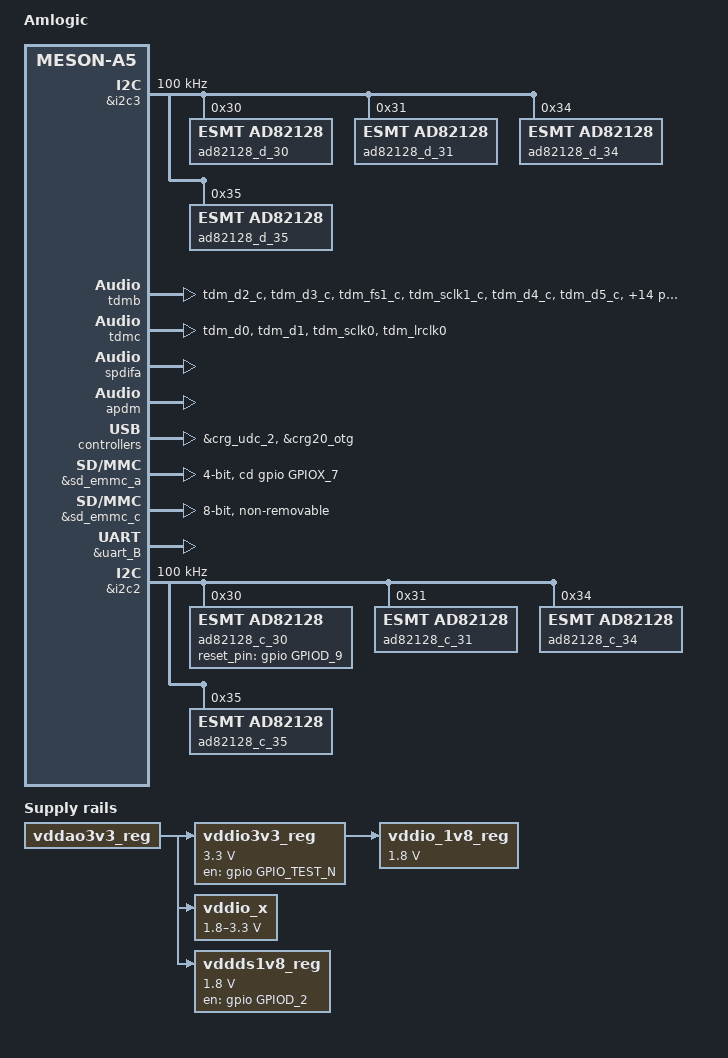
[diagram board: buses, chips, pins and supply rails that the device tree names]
// SPDX-License-Identifier: (GPL-2.0+ OR MIT)
/*
 * Copyright (c) 2019 Amlogic, Inc. All rights reserved.
 */

/dts-v1/;

#include "meson-a5.dtsi"
#include "partition_mbox_ab.dtsi"
#include <dt-bindings/input/input.h>

/ {
	model = "Amlogic";
	amlogic-dt-id = "a5_a113x2_av400_1g";
	compatible = "amlogic, a5";
	interrupt-parent = <&gic>;
	#address-cells = <2>;
	#size-cells = <2>;

	aliases {
		serial0 = &uart_B;
		serial1 = &uart_A;
		serial2 = &uart_C;
		serial3 = &uart_D;
		serial4 = &uart_E;
		i2c0 = &i2c0;
		i2c1 = &i2c1;
		i2c2 = &i2c2;
		i2c3 = &i2c3;
		spi0 = &spifc;
		spi1 = &spicc0;
		tsensor0 = &p_tsensor;
	};

	memory@00000000 {
		device_type = "memory";
		linux,usable-memory = <0x0 0x0 0x0 0x40000000>;
	};

	reserved-memory {
		#address-cells = <2>;
		#size-cells = <2>;
		ranges;

		dsp_fw_reserved:linux,dsp_fw {
			compatible = "shared-dma-pool";
			reusable;
			size = <0x0 0x00800000>;
			alignment = <0x0 0x00400000>;
			alloc-ranges = <0x0 0x30000000 0x0 0x00800000>;
		};

		/* global autoconfigured region for contiguous allocations */
		ramoops@0x07400000 {
			compatible = "ramoops";
			reg = <0x0 0x07400000 0x0 0x00100000>;
			record-size = <0x20000>;
			console-size = <0x40000>;
			ftrace-size = <0x80000>;
			pmsg-size = <0x20000>;
		};

		secmon_reserved:linux,secmon {
			compatible = "shared-dma-pool";
			reusable;
			size = <0x0 0x3400000>;
			alignment = <0x0 0x400000>;
			alloc-ranges = <0x0 0x05000000 0x0 0x3400000>;
		};

		logo_reserved:linux,meson-fb {
			compatible = "shared-dma-pool";
			reusable;
			size = <0x0 0x800000>;
			alignment = <0x0 0x400000>;
			alloc-ranges = <0x0 0x3f800000 0x0 0x800000>;
		};

		ion_cma_reserved:linux,ion-dev {
			compatible = "shared-dma-pool";
			reusable;
			size = <0x0 0x6400000>;
			alignment = <0x0 0x400000>;
		};
		ion_fb_reserved:linux,ion-fb {
			compatible = "shared-dma-pool";
			reusable;
			/* 1920x1080x4x3 round up 4M align */
			size = <0x0 0x1c00000>;
			alignment = <0x0 0x400000>;
		};
		/*di CMA pool */
		di_cma_reserved:linux,di_cma {
			compatible = "shared-dma-pool";
			reusable;
			/* buffer_size = 3621952(yuv422 8bit)
			 *  | 4736064(yuv422 10bit)
			 *  | 4074560(yuv422 10bit full pack mode)
			 * 10x3621952=34.6M(0x23) support 8bit
			 * 10x4736064=45.2M(0x2e) support 12bit
			 * 10x4074560=40M(0x28) support 10bit
			 */
			//size = <0x0 0x0B000000>;
			//size = <0x0 0x0>;
			alignment = <0x0 0x400000>;
		};

		/*  POST PROCESS MANAGER */
		ppmgr_reserved:linux,ppmgr {
			compatible = "shared-dma-pool";
			size = <0x0>;
		};

		codec_mm_cma:linux,codec_mm_cma {
			compatible = "shared-dma-pool";
			reusable;
			/* ion_codec_mm max can alloc size 80M*/
			size = <0x0 0xd000000>;
			alignment = <0x0 0x400000>;
			linux,contiguous-region;
		};

		/* codec shared reserved */
		codec_mm_reserved:linux,codec_mm_reserved {
			compatible = "amlogic, codec-mm-reserved";
			size = <0x0 0x0>;
			alignment = <0x0 0x100000>;
			//no-map;
		};

		/*  vdin0 CMA pool */
		vdin0_cma_reserved:linux,vdin0_cma {
			compatible = "shared-dma-pool";
			reusable;
			/* up to 1920x1080 yuv422 8bit and 5 buffers
			 * 1920x1080x2x5 = 20 M
			 */
			size = <0x0 0x01400000>;
			alignment = <0x0 0x400000>;
		};
		/*  vdin1 CMA pool */
		vdin1_cma_reserved:linux,vdin1_cma {
			compatible = "shared-dma-pool";
			reusable;
			/* up to 1920x1080 yuv422 8bit and 5 buffers
			 * 1920x1080x2x5 = 20 M
			 */
			size = <0x0 0x01400000>;
			alignment = <0x0 0x400000>;
		};
	};

	vddio3v3_reg: fixedregulator@5{
		vin-supply = <&vddao3v3_reg>;
		compatible = "regulator-fixed";
		regulator-name = "VDDIO_3V3";
		regulator-min-microvolt = <3300000>;
		regulator-max-microvolt = <3300000>;
		gpio = <&gpio GPIO_TEST_N GPIO_ACTIVE_HIGH>;
		enable-active-high;
		regulator-boot-on;
		regulator-always-on;
	};

	vddio_1v8_reg: fixedregulator@6{
		vin-supply = <&vddio3v3_reg>;
		compatible = "regulator-fixed";
		regulator-name = "VDDIO_1V8";
		regulator-min-microvolt = <1800000>;
		regulator-max-microvolt = <1800000>;
		regulator-boot-on;
		regulator-always-on;
	};

	vddio_x: gpio-regulator {
		vin-supply = <&vddao3v3_reg>;
		compatible = "regulator-gpio";
		regulator-name = "VDDIO_X";
		regulator-min-microvolt = <1800000>;
		regulator-max-microvolt = <3300000>;
		gpios = <&gpio GPIOD_11 GPIO_ACTIVE_LOW>;
		gpios-states = <1>;
		states = <1800000 1
			  3300000 0>;
		regulator-boot-on;
		regulator-always-on;
	};

	vddds1v8_reg: fixedregulator@7{
		vin-supply = <&vddao3v3_reg>;
		compatible = "regulator-fixed";
		regulator-name = "VDD_DSOFF_1V8";
		regulator-min-microvolt = <1800000>;
		regulator-max-microvolt = <1800000>;
		gpio = <&gpio GPIOD_2 GPIO_ACTIVE_HIGH>;
		enable-active-high;
		regulator-boot-on;
		regulator-always-on;
	};

	codec_mm {
		compatible = "amlogic, codec, mm";
		memory-region = <&codec_mm_cma &codec_mm_reserved>;
		dev_name = "codec_mm";
		status = "disabled";
	};
	amdolby_vision {
		compatible = "amlogic, dolby_vision_sc2";
		dev_name = "aml_amdolby_vision_driver";
		status = "disabled";
		tv_mode = <0>;/*1:enabel ;0:disable*/
	};
	cvbsout {
		compatible = "amlogic, cvbsout-sc2";
		status = "disabled";

		/* clk path */
		/* 0:vid_pll vid2_clk */
		/* 1:gp0_pll vid2_clk */
		/* 2:vid_pll vid1_clk */
		/* 3:gp0_pll vid1_clk */
		clk_path = <0>;

		/* performance: reg_address, reg_value */
		/* tm2 */
		performance = <0x1bf0  0x9
			0x1b56  0x333
			0x1b12  0x8080
			0x1b05  0xfd
			0x1c59  0xf850
			0xffff  0x0>; /* ending flag */
		performance_sarft = <0x1bf0  0x9
			0x1b56  0x333
			0x1b12  0x0
			0x1b05  0x9
			0x1c59  0xfc48
			0xffff  0x0>; /* ending flag */
		performance_revB_telecom = <0x1bf0  0x9
			0x1b56  0x546
			0x1b12  0x8080
			0x1b05  0x9
			0x1c59  0xf850
			0xffff  0x0>; /* ending flag */
	};

	dvb-extern {
		compatible = "amlogic, dvb-extern";
		dev_name = "dvb-extern";
		status = "disabled";

		/* dvb hardware main power. */
		dvb_power_gpio = <&gpio GPIOZ_5 GPIO_ACTIVE_HIGH>;
		dvb_power_value = <1>;
		dvb_power_dir = <0>; /* 0: out, 1: in. */

		fe_num = <3>; /* interal 2 * dvb-c, extern 1 * dvb-s */
		fe0_demod = "internal";
		fe0_tuner0 = <0>; /* use tuner0 */

		fe1_demod = "internal";
		fe1_tuner0 = <1>; /* use tuner1 */

		fe2_demod = "cxd2856";
		//fe2_i2c_adap_id = <&i2c4>;
		fe2_demod_i2c_addr = <0xD8>;
		fe2_reset_value = <0>;
		fe2_reset_gpio = <&gpio GPIOZ_4 GPIO_ACTIVE_HIGH>;
		fe2_reset_dir = <0>; /* 0: out, 1: in. */
		fe2_ant_poweron_value = <0>;
		//fe2_ant_power_gpio = <&gpio GPIOH_9 GPIO_ACTIVE_HIGH>;
		fe2_ts = <0>;
		fe2_tuner1 = <3>; /* use tuner3, only S. */

		tuner_num = <4>; /* tuner number, multi tuner support */
		tuner0_name = "r836_tuner";
		tuner0_i2c_adap = <&i2c3>;
		tuner0_i2c_addr = <0x1a>; /* 7bit */
		tuner0_xtal = <0>; /* 0: 16MHz, 1: 24MHz */
		tuner0_xtal_mode = <0>;
					/* NO_SHARE_XTAL(0)
					 * SLAVE_XTAL_SHARE(3)
					 */
		tuner0_xtal_cap = <16>;
		tuner0_lt_out = <1>;

		tuner1_name = "r836_tuner";
		tuner1_i2c_adap = <&i2c3>;
		tuner1_i2c_addr = <0x3a>; /* 7bit */
		tuner1_xtal = <0>; /* 0: 16MHz, 1: 24MHz */
		tuner1_xtal_mode = <0>;
					/* NO_SHARE_XTAL(0)
					 * SLAVE_XTAL_SHARE(3)
					 */
		tuner1_xtal_cap = <16>;
		tuner1_lt_out = <1>;

		tuner2_name = "av2018_tuner";
		tuner2_i2c_adap = <&i2c3>;
		tuner2_i2c_addr = <0xC4>; /* 8bit */
		tuner2_lt_out = <1>;

		tuner3_name = "av2018_tuner";
		tuner3_lt_out = <1>;
	};

	dvb-demux {
		compatible = "amlogic sc2, dvb-demux";
		dev_name = "dvb-demux";
		status = "disabled";

		reg = <0x0 0xfe000000 0x0 0x480000>;

		dmxdev_num = <4>;

		tsn_from = "demod";

		/*single demod setting */
		ts0_sid = <0x20>;
		ts0 = "serial-4wire"; /* tsinA: serial-4wire, serial-3wire */
		ts0_control = <0x0>;
		ts0_invert = <0>;

		ts1_sid = <0x21>;
		ts1 = "parallel";
		ts1_control = <0x0>;
		ts1_invert = <0>;

		ts2_sid = <0x22>;
		ts2 = "parallel";
		ts2_control = <0x0>;
		ts2_invert = <0>;

		pinctrl-names = "s_ts0";
		pinctrl-0 = <&dvb_s_ts0_pins>;
	};

	ionvideo {
		compatible = "amlogic, ionvideo";
		dev_name = "ionvideo";
		status = "disabled";
	};

	amlvideo2_0 {
		compatible = "amlogic, amlvideo2";
		dev_name = "amlvideo2";
		status = "disabled";
		amlvideo2_id = <0>;
		cma_mode = <1>;
	};

	amlvideo2_1 {
		compatible = "amlogic, amlvideo2";
		dev_name = "amlvideo2";
		status = "disabled";
		amlvideo2_id = <1>;
		cma_mode = <1>;
	};

	ppmgr {
		compatible = "amlogic, ppmgr";
		memory-region = <&ppmgr_reserved>;
		dev_name = "ppmgr";
		status = "disabled";
	};

	amlvecm {
		compatible = "amlogic, vecm";
		dev_name = "aml_vecm";
		status = "disabled";
		gamma_en = <0>;/*1:enabel ;0:disable*/
		wb_en = <0>;/*1:enabel ;0:disable*/
		cm_en = <0>;/*1:enabel ;0:disable*/
		/*0: 709/601  1: bt2020*/
		tx_op_color_primary = <0>;
	};

	multi-di {
		compatible = "amlogic, dim-s4";
		status = "disabled";
		/* 0:use reserved; 1:use cma; 2:use cma as reserved */
		flag_cma = <4>;	//<1>;
		//memory-region = <&di_reserved>;
		//memory-region = <&di_cma_reserved>;
		interrupts = <0 203 1
				0 202 1>;
		interrupt-names = "pre_irq", "post_irq";
		//clocks = <&clkc CLKID_VPU_CLKB>,
		//	<&clkc CLKID_VPU>;
		//clock-names = "vpu_clkb",
		//	"vpu_mux";
		//clock-range = <334 667>;
		/* buffer-size = <3621952>;(yuv422 8bit) */
		buffer-size = <4074560>;/*yuv422 fullpack*/
		/* reserve-iomap = "true"; */
		/* if enable nr10bit, set nr10bit-support to 1 */
		post-wr-support = <1>;
		nr10bit-support = <1>;
		nrds-enable = <1>;
		pps-enable = <1>;
	};

	provisionkey {
		compatible = "amlogic, provisionkey";
		status = "disabled";
		key-permit-default = "write";
		//new key not need add dts if started with KEY_PROVISION_
		KEY_PROVISION_XXX { };
		//test_my_added_keyname { };
	};//End provisionkey

	unifykey{
		compatible = "amlogic,unifykey";
		status = "okay";
		unifykey-num = <19>;
		unifykey-index-0 = <&keysn_0>;
		unifykey-index-1 = <&keysn_1>;
		unifykey-index-2 = <&keysn_2>;
		unifykey-index-3 = <&keysn_3>;
		unifykey-index-4 = <&keysn_4>;
		unifykey-index-5 = <&keysn_5>;
		unifykey-index-6 = <&keysn_6>;
		unifykey-index-7 = <&keysn_7>;
		unifykey-index-8 = <&keysn_8>;
		unifykey-index-9 = <&keysn_9>;
		unifykey-index-10= <&keysn_10>;
		unifykey-index-11= <&keysn_11>;
		unifykey-index-12= <&keysn_12>;
		unifykey-index-13= <&keysn_13>;
		unifykey-index-14= <&keysn_14>;
		unifykey-index-15= <&keysn_15>;
		unifykey-index-16= <&keysn_16>;
		unifykey-index-17= <&keysn_17>;
		unifykey-index-18= <&keysn_18>;

		keysn_0: key_0{
			key-name = "usid";
			key-device = "normal";
			key-permit = "read","write","del";
		};
		keysn_1:key_1{
			key-name = "mac";
			key-device = "normal";
			key-permit = "read","write","del";
		};
		keysn_2:key_2{
			key-name = "hdcp";
			key-device = "secure";
			key-type = "sha1";
			key-permit = "read","write","del";
		};
		keysn_3:key_3{
			key-name = "secure_boot_set";
			key-device = "efuse";
			key-permit = "write";
		};
		keysn_4:key_4{
			key-name = "mac_bt";
			key-device = "normal";
			key-permit = "read","write","del";
			key-type  = "mac";
		};
		keysn_5:key_5{
			key-name = "mac_wifi";
			key-device = "normal";
			key-permit = "read","write","del";
			key-type = "mac";
		};
		keysn_6:key_6{
			key-name = "hdcp2_tx";
			key-device = "normal";
			key-permit = "read","write","del";
		};
		keysn_7:key_7{
			key-name = "hdcp2_rx";
			key-device = "normal";
			key-permit = "read","write","del";
		};
		keysn_8:key_8{
			key-name = "widevinekeybox";
			key-device = "secure";
			key-permit = "read","write","del";
		};
		keysn_9:key_9{
			key-name = "deviceid";
			key-device = "normal";
			key-permit = "read","write","del";
		};
		keysn_10:key_10{
			key-name = "hdcp22_fw_private";
			key-device = "secure";
			key-permit = "read","write","del";
		};
		keysn_11:key_11{
			key-name = "PlayReadykeybox25";
			key-device = "secure";
			key-permit = "read","write","del";
		};
		keysn_12:key_12{
			key-name = "prpubkeybox";// PlayReady
			key-device = "secure";
			key-permit = "read","write","del";
		};
		keysn_13:key_13{
			key-name = "prprivkeybox";// PlayReady
			key-device = "secure";
			key-permit = "read","write","del";
		};
		keysn_14:key_14{
			key-name = "attestationkeybox";// attestation key
			key-device = "secure";
			key-permit = "read","write","del";
		};
		keysn_15:key_15{
			key-name = "region_code";
			key-device = "normal";
			key-permit = "read","write","del";
		};
		keysn_16:key_16{
			key-name = "netflix_mgkid";
			key-device = "secure";
			key-permit = "read","write","del";
		};
		keysn_17:key_17{
			key-name = "attestationdevidbox";// attest dev id box
			key-device = "secure";
			key-permit = "read","write","del";
		};
		keysn_18:key_18{
			key-name = "oemkey";
			key-device = "normal";
			key-permit = "read","write","del";
		};
	};//End unifykey

	efusekey:efusekey{
		keynum = <4>;
		key0 = <&key_0>;
		key1 = <&key_1>;
		key2 = <&key_2>;
		key3 = <&key_3>;
		key_0:key_0{
			keyname = "mac";
			offset = <0>;
			size = <6>;
		};
		key_1:key_1{
			keyname = "mac_bt";
			offset = <6>;
			size = <6>;
		};
		key_2:key_2{
			keyname = "mac_wifi";
			offset = <12>;
			size = <6>;
		};
		key_3:key_3{
			keyname = "usid";
			offset = <18>;
			size = <16>;
		};
	};//End efusekey
	/* Audio Related start */
	auge_sound {
		compatible = "amlogic, auge-sound-card";
		aml-audio-card,name = "AML-AUGESOUND";

		/*avout mute gpio*/
		//avout_mute-gpios = <&gpio GPIOH_5 GPIO_ACTIVE_HIGH>;
		//spk_mute-gpios = <&gpio GPIOD_2 GPIO_ACTIVE_LOW>;

		aml-audio-card,dai-link@0 {
			format = "i2s";
			mclk-fs = <256>;
			//continuous-clock;
			//bitclock-inversion;
			//frame-inversion;
			/* master mode */
			// bitclock-master = <&tdma>;
			// frame-master = <&tdma>;
			/* slave mode */

			bitclock-master = <&tdmacodec>;
			frame-master = <&tdmacodec>;

			suffix-name = "alsaPORT-i2sCapture";
			tdmacpu: cpu {
				sound-dai = <&tdma>;
				dai-tdm-slot-tx-mask =
							<1 1>;
				dai-tdm-slot-rx-mask =
							<1 1>;
				dai-tdm-slot-num = <2>;
				dai-tdm-slot-width = <32>;
				system-clock-frequency = <12288000>;
			};
			tdmacodec: codec {
				sound-dai = <&dummy_codec>;
			};
		};

		aml-audio-card,dai-link@1 {
			format = "i2s";// "dsp_a";
			mclk-fs = <256>;
			//continuous-clock;
			//bitclock-inversion;
			//frame-inversion;
			/* master mode */
			bitclock-master = <&tdmb>;
			frame-master = <&tdmb>;
			/* slave mode */
			//bitclock-master = <&tdmbcodec>;
			//frame-master = <&tdmbcodec>;
			/* suffix-name, sync with android audio hal
			 * what's the dai link used for
			 */
			suffix-name = "alsaPORT-i2s";
			cpu {
				sound-dai = <&tdmb>;
				dai-tdm-slot-tx-mask = <1 1>;
				//dai-tdm-slot-rx-mask = <1 1>;
				dai-tdm-slot-num = <2>;
				/*
				 * dai-tdm-slot-tx-mask =
				 *	<1 1 1 1 1 1 1 1>;
				 * dai-tdm-slot-rx-mask =
				 *	<1 1 1 1 1 1 1 1>;
				 * dai-tdm-slot-num = <8>;
				 */
				dai-tdm-slot-width = <32>;
				system-clock-frequency = <12288000>;
			};
			tdmbcodec: codec {
				prefix-names = "ad82128_c_30","ad82128_c_31",
						"ad82128_c_34","ad82128_c_35",
						"ad82128_d_30","ad82128_d_31",
						"ad82128_d_34","ad82128_d_35";
				sound-dai = <
						&ad82128_c_30
						&ad82128_c_31
						&ad82128_c_34
						&ad82128_c_35
						&ad82128_d_30
						&ad82128_d_31
						&ad82128_d_34
						&ad82128_d_35
				>;
			};
		};

		aml-audio-card,dai-link@2 {
			mclk-fs = <64>;
			/* suffix-name, sync with android audio hal
			 * what's the dai link used for
			 */
			suffix-name = "alsaPORT-pdm";
			cpu {
				sound-dai = <&apdm>;
			};
			codec {
				sound-dai = <&dummy_codec>;
			};
		};

		aml-audio-card,dai-link@3 {
			mclk-fs = <128>;
			/* suffix-name, sync with android audio hal used for */
			suffix-name = "alsaPORT-spdif";
			cpu {
				sound-dai = <&spdifa>;
				system-clock-frequency = <6144000>;
			};
			codec {
				sound-dai = <&dummy_codec>;
			};
		};

		aml-audio-card,dai-link@4 {
			mclk-fs = <256>;
			continuous-clock;
			suffix-name = "alsaPORT-loopback";
			cpu {
				sound-dai = <&loopbacka>;
				system-clock-frequency = <12288000>;
			};
			codec {
				sound-dai = <&dummy_codec>;
			};
		};

		aml-audio-card,dai-link@5 {
			format = "i2s";
			mclk-fs = <256>;
			//continuous-clock;
			//bitclock-inversion;
			//frame-inversion;
			/* master mode */
			bitclock-master = <&tdmc>;
			frame-master = <&tdmc>;
			/* slave mode */
			//bitclock-master = <&tdmccodec>;
			//frame-master = <&tdmccodec>;
			/* suffix-name, sync with android audio hal used for */
			suffix-name = "alsaPORT-tdmin";
			cpu {
				sound-dai = <&tdmc>;
				//dai-tdm-slot-tx-mask = <1 1>;
				dai-tdm-slot-rx-mask = <1 1>;
				dai-tdm-slot-num = <2>;
				dai-tdm-slot-width = <32>;
				system-clock-frequency = <12288000>;
			};
			codec {
				sound-dai = <&dummy_codec>;
			};
		};
	};

	picdec {
		compatible = "amlogic, picdec";
		status = "disabled";
	};

	audiolocker: locker {
		compatible = "amlogic, audiolocker";
		clock-names = "lock_out", "lock_in", "out_src",
					"in_src", "out_calc", "in_ref";
		interrupts = <GIC_SPI 1 IRQ_TYPE_EDGE_RISING>;
		interrupt-names = "irq";
		frequency = <49000000>; /* pll */
		dividor = <49>; /* locker's parent */
		status = "disabled";
	};/* Audio Related end */

	cpu_opp_table0: cpu_opp_table0 {
		compatible = "operating-points-v2";
		status = "disabled";
		opp-shared;

		opp00 {
			opp-hz = /bits/ 64 <100000000>;
			opp-microvolt = <779000>;
		};
		opp01 {
			opp-hz = /bits/ 64 <250000000>;
			opp-microvolt = <779000>;
		};
		opp02 {
			opp-hz = /bits/ 64 <500000000>;
			opp-microvolt = <779000>;
		};
		opp03 {
			opp-hz = /bits/ 64 <667000000>;
			opp-microvolt = <799000>;
		};
		opp04 {
			opp-hz = /bits/ 64 <1000000000>;
			opp-microvolt = <819000>;
		};
		opp05 {
			opp-hz = /bits/ 64 <1200000000>;
			opp-microvolt = <829000>;
		};
		opp06 {
			opp-hz = /bits/ 64 <1404000000>;
			opp-microvolt = <839000>;
		};
		opp07 {
			opp-hz = /bits/ 64 <1500000000>;
			opp-microvolt = <849000>;
		};
		opp08 {
			opp-hz = /bits/ 64 <1608000000>;
			opp-microvolt = <879000>;
		};
		opp09 {
			opp-hz = /bits/ 64 <1704000000>;
			opp-microvolt = <919000>;
		};
		opp10 {
			opp-hz = /bits/ 64 <1800000000>;
			opp-microvolt = <959000>;
		};
		opp11 {
			opp-hz = /bits/ 64 <1908000000>;
			opp-microvolt = <1019000>;
		};
		opp12 {
			opp-hz = /bits/ 64 <2004000000>;
			opp-microvolt = <1049000>;
		};
	};
	cpufreq-meson {
		compatible = "amlogic, cpufreq-meson";
		status = "disabled";
	gpio_keypad{
		compatible = "amlogic, gpio_keypad";
		status = "disabled";
		scan_period = <20>;
		key_num = <1>;
		key_name = "mute";
		key_code = <SW_MUTE_DEVICE>;
		key_type = <EV_SW>;
		key-gpios = <&gpio  GPIOD_3  GPIO_ACTIVE_HIGH>;
		detect_mode = <0>;/*0:polling mode, 1:irq mode*/
	};
};

&i2c3 {
	status = "disabled";
	pinctrl-names="default";
	pinctrl-0=<&i2c3_pins2>;
	clock-frequency = <300000>;
};

&vddcpu0 {
	status = "disabled";
};

&audiobus {
	tdma: tdm@0 {
		compatible = "amlogic, a5-snd-tdma";
		#sound-dai-cells = <0>;
		dai-tdm-lane-slot-mask-in = <1 1 1 1>;
		dai-tdm-lane-slot-mask-out = <1 1>;
		dai-tdm-clk-sel = <0>;
		clocks = <&clkaudio CLKID_AUDIO_MCLK_A
				&clkaudio CLKID_AUDIO_MCLK_PAD2
				&clkc CLKID_MPLL0>;
		clock-names = "mclk", "mclk_pad", "clk_srcpll";
		pinctrl-names = "tdm_pins", "tdmout_a_gpio";
		pinctrl-0 = <
			&mclk_2_pins
			&tdm_a_pins
			&tdmain_pins
			&tdm_d0_pins
			&tdm_d1_pins
			//&tdm_d8_pins
			&tdm_d9_pins
			&tdm_d10_pins
			&tdm_d11_pins
			&tdma_clk_pins
			&tdmain_clk_pins>;
			&tdmain_clk_pins
			>;
		pinctrl-1 = <&tdmin_a_gpio>;
		tdm5v-supply = <&vcc5v_reg>;
		tdm3v3-supply = <&vddio3v3_reg>;
		status = "okay";
	};

	tdmb: tdm@1 {
		compatible = "amlogic, a5-snd-tdmb";
		#sound-dai-cells = <0>;
		dai-tdm-lane-slot-mask-out = <1 1 1 1 1 1 1 1>;
		dai-tdm-clk-sel = <1>;
		clocks = <&clkaudio CLKID_AUDIO_MCLK_B
				&clkaudio CLKID_AUDIO_MCLK_PAD1
				&clkc CLKID_MPLL1>;
		clock-names = "mclk", "mclk_pad", "clk_srcpll";
		pinctrl-names = "tdm_pins";
		pinctrl-0 = <
			&mclk_1_pins
			&tdm_b_pins
			&tdm_d2_pins
			&tdm_d3_pins
			&tdm_d4_pins
			&tdm_d5_pins
			&tdm_d6_pins
			&tdm_d7_pins
			&tdm_d12_pins
			&tdm_d13_pins
			&tdmb_clk_pins>;
		pinctrl-1 = <&tdmout_b_gpio>;
		start_clk_enable = <1>;
		tdm5v-supply = <&vcc5v_reg>;
		tdm3v3-supply = <&vddio3v3_reg>;
		status = "okay";
	};

	tdmc:tdm@2 {
		compatible = "amlogic, a5-snd-tdmc";
		#sound-dai-cells = <0>;
		dai-tdm-lane-slot-mask-in = <1 1>;
		dai-tdm-clk-sel = <2>;
		clocks = <&clkaudio CLKID_AUDIO2_MCLK_VAD
				&clkc CLKID_MPLL2>;
		clock-names = "mclk","clk_srcpll";
		//pinctrl-names = "tdm_pins";
		//pinctrl-0 = <
			//&mclk_2_pins
			//&tdm_c_pins
			//&tdm_d11_pins
			//&tdmc_clk_pins>;
		pinctrl-names = "tdm_pins", "tdmout_a_gpio";
		pinctrl-0 = <
			&tdmcin_pins
			&tdm_d0_pins
			&tdm_d1_pins
			&tdmc_clk_pins>;
		pinctrl-1 = <&tdmin_c_gpio>;
		tdm5v-supply = <&vcc5v_reg>;
		tdm3v3-supply = <&vddio3v3_reg>;
		status = "okay";
	};

	spdifa: spdif@0 {
		compatible = "amlogic, a5-snd-spdif-a";
		#sound-dai-cells = <0>;
		clocks = <&clkc CLKID_MPLL0
				&clkc CLKID_FCLK_DIV4
				&clkaudio CLKID_AUDIO_GATE_SPDIFIN
				&clkaudio CLKID_AUDIO_GATE_SPDIFOUT_A
				&clkaudio CLKID_AUDIO_SPDIFIN
				&clkaudio CLKID_AUDIO_SPDIFOUT_A>;
		clock-names = "sysclk", "fixed_clk", "gate_spdifin",
				"gate_spdifout", "clk_spdifin", "clk_spdifout";
		interrupts =
				<GIC_SPI 35 IRQ_TYPE_EDGE_RISING>;

		interrupt-names = "irq_spdifin";
		//pinctrl-names = "spdif_pins", "spdif_pins_mute";
		//pinctrl-0 = <&spdifout>;
		//pinctrl-1 = <&spdifout_a_mute>;
		pinctrl-names = "spdif_pins", "spdif_pins_mute";
		pinctrl-0 = <&spdifout
			     &spdifin>;
		pinctrl-1 = <&spdif_a_mute>;

		/*spdif clk tuning enable*/
		clk_tuning_enable = <1>;

		spdif5v-supply = <&vcc5v_reg>;
		spdif3v3-supply = <&vddio3v3_reg>;
		status = "okay";
	};

	apdm: pdm {
		compatible = "amlogic, a5-snd-pdm";
		#sound-dai-cells = <0>;

		clocks = <&clkaudio CLKID_AUDIO2_GATE_PDM
			&clkc CLKID_FCLK_DIV4
			&clkc CLKID_MPLL1
			&clkaudio CLKID_AUDIO2_PDM_DCLK
			&clkaudio CLKID_AUDIO2_PDM_SYSCLK>;
		clock-names = "gate",
			"sysclk_srcpll",
			"dclk_srcpll",
			"pdm_dclk",
			"pdm_sysclk";

		pinctrl-names = "pdm_pins";
		pinctrl-0 = <&pdmin>;

		/* mode 0~4, defalut:1 */
		filter_mode = <1>;

		pdm5v-supply = <&vcc5v_reg>;
		pdm3v3-supply = <&vddio3v3_reg>;
		status = "okay";
	};

	/* a5 only one resample, a/b can only use one at the same time */
	/* spdif use this resample */
	asrca: resample@0 {
		compatible = "amlogic, t5-resample-a";
		clocks = <&clkc CLKID_MPLL2
				&clkaudio CLKID_AUDIO_MCLK_F
				&clkaudio CLKID_AUDIO_RESAMPLE_A>;
		clock-names = "resample_pll", "resample_src", "resample_clk";
		/*same with toddr_src
		 *	TDMIN_A, 0
		 *	TDMIN_B, 1
		 *	TDMIN_C, 2
		 *	SPDIFIN, 3
		 *	PDMIN,  4
		 *	NONE,
		 *	TDMIN_LB, 6
		 *	LOOPBACK, 7
		 */
		resample_module = <3>;
		status = "disabled";
	};

	/* loopback use this resample */
	asrcb: resample@1 {
		compatible = "amlogic, t5-resample-b";
		clocks = <&clkc CLKID_MPLL2
				&clkaudio CLKID_AUDIO_MCLK_F
				&clkaudio CLKID_AUDIO_RESAMPLE_A>;
		clock-names = "resample_pll", "resample_src", "resample_clk";
		/*this resample is only used for loopback_A.*/
		capture_sample_rate = <16000>;

		status = "okay";
	};

	vad:vad {
		compatible = "amlogic, snd-vad-top";
		#sound-dai-cells = <0>;

		clocks = <&clkaudio CLKID_AUDIO2_GATE_TOVAD
			&clkc CLKID_FCLK_DIV4
			&clkaudio CLKID_AUDIO2_VAD_CLK>;
		clock-names = "gate", "pll", "clk";

		interrupts = <GIC_SPI 39 IRQ_TYPE_EDGE_RISING
				GIC_SPI 44 IRQ_TYPE_EDGE_RISING>;
		interrupt-names = "irq_wakeup", "irq_frame_sync";

		/*
		 * Data src sel:
		 * 0: tdmin_a;
		 * 1: tdmin_b;
		 * 2: tdmin_c;
		 * 3: spdifin;
		 * 4: pdmin;
		 * 5: loopback_b;
		 * 6: tdmin_lb;
		 * 7: loopback_a;
		 */
		src = <4>;

		/*
		 * deal with hot word in user space or kernel space
		 * 0: in user space
		 * 1: in kernel space
		 */
		level = <1>;

		status = "okay";
	};

	loopbacka:loopback@0 {
		compatible = "amlogic, a5-loopbacka";
		#sound-dai-cells = <0>;

		clocks = <&clkaudio CLKID_AUDIO2_GATE_PDM
			&clkc CLKID_FCLK_DIV4
			&clkc CLKID_MPLL1
			&clkaudio CLKID_AUDIO2_PDM_DCLK
			&clkaudio CLKID_AUDIO2_PDM_SYSCLK
			&clkc CLKID_MPLL1
			&clkaudio CLKID_AUDIO_MCLK_B>;
		clock-names = "pdm_gate",
			"pdm_sysclk_srcpll",
			"pdm_dclk_srcpll",
			"pdm_dclk",
			"pdm_sysclk",
			"tdminlb_mpll",
			"tdminlb_mclk";

		/* datain src
		 * 0: tdmin_a;
		 * 1: tdmin_b;
		 * 2: tdmin_c;
		 * 3: spdifin;
		 * 4: pdmin;
		 */
		datain_src = <4>;
		datain_chnum = <4>;
		datain_chmask = <0xf>;
		/* config which data pin for loopback */
		datain-lane-mask-in = <1 0 1 0>;

		/* calc mclk for datalb */
		mclk-fs = <256>;

		/* tdmin_lb src
		 * 0: tdmoutA
		 * 1: tdmoutB
		 * 2: tdmoutC
		 * 3: PAD_TDMINA_DIN*, refer to core pinmux
		 * 4: PAD_TDMINB_DIN*, refer to core pinmux
		 * 5: PAD_TDMINC_DIN*, refer to core pinmux
		 * 6: PAD_TDMINA_D*, oe, refer to core pinmux
		 * 7: PAD_TDMINB_D*, oe, refer to core pinmux
		 */
		/* if tdmin_lb >= 3, use external loopback */
		datalb_src = <1>;
		datalb_chnum = <2>;
		datalb_chmask = <0x3>;
		/* config which data pin as loopback */
		datalb-lane-mask-in = <1 0 0 0>;

		status = "okay";
	};
#if 0
	aed:effect {
		compatible = "amlogic, snd-effect-v3";
		#sound-dai-cells = <0>;
		clocks = <&clkaudio CLKID_AUDIO_GATE_EQDRC
			&clkc CLKID_FCLK_DIV5
			&clkaudio CLKID_AUDIO_EQDRC>;
		clock-names = "gate", "srcpll", "eqdrc";
		/*
		 * 0:tdmout_a
		 * 1:tdmout_b
		 * 2:tdmout_c
		 * 3:spdifout
		 * 4:spdifout_b
		 */
		eqdrc_module = <1>;
		/* max 0xf, each bit for one lane, usually one lane */
		lane_mask = <0x1>;
		/* max 0xff, each bit for one channel */
		channel_mask = <0x3>;
		status = "disabled";
	};
#endif
}; /* end of audiobus */

&periphs_pinctrl {

	tdmain_pins: tdmain_pin {
		mux { /* GPIOT_1, GPIOT_0, GPIOT_2, GPIOT_3, GPIOT_4, GPIOT_5 */
			groups = "tdm_sclk2_t",
				"tdm_fs2_t",
				//"tdm_d8_t",
				"tdm_d9_t",
				"tdm_d10_t",
				"tdm_d11_t";
			function = "tdm";
		};
	};

	tdm_b_pins: tdm_b_pin {
		mux { /* GPIOC_0, GPIOC_1, GPIOC_2--GPIOC_8, GPIOT7, GPIOT8*/
			groups = "tdm_d2_c",
				"tdm_d3_c",
				"tdm_fs1_c",
				"tdm_sclk1_c",
				"tdm_d4_c",
				"tdm_d5_c",
				"tdm_d6_c",
				"tdm_d7_c",
				"tdm_d12_t",
				"tdm_d13_t";
			function = "tdm";
		};
	};
#if 0
	spdifin: spdifin {
		mux {/* GPIOH_5 */
			groups = "spdif_in_h";
			function = "spdif_in";
		};
	};
	//tdm_c_pins: tdm_c_pin {
	//	mux { /* GPIOT_1, GPIOT_0,GPIOT_5 */
	//		groups = "tdm_sclk2_t",
	//			"tdm_fs2_t",
	//			"tdm_d11_t";
	//		function = "tdm";
	//	};
	//};
	tdmin_a_gpio: tdmin_a_gpio {
		mux {
			groups ="GPIOT_0",
				"GPIOT_1",
				"GPIOT_2",
				"GPIOT_3",
				"GPIOT_4",
				"GPIOT_5",
				"GPIOT_6";
			function = "gpio_periphs";
			output-low;
		};
	};

	tdmout_b_gpio: tdmout_b_gpio {
		mux {
			groups ="GPIOC_0",
				"GPIOC_1",
				"GPIOC_2",
				"GPIOC_3",
				"GPIOC_4",
				"GPIOC_5",
				"GPIOC_6",
				"GPIOC_7",
				"GPIOC_8",
				"GPIOT_7",
				"GPIOT_8";
			function = "gpio_periphs";
			output-low;
		};
	};
	tdmin_c_gpio: tdmin_c_gpio {
		mux {
			groups ="GPIOX_8",
				"GPIOX_9",
				"GPIOX_10",
				"GPIOX_11";
			function = "gpio_periphs";
			output-low;
		};
	};
	tdmcin_pins: tdmcin_pin {
		mux { /* GPIOX_8, GPIOX_9, GPIOX_10, GPIOX_11, */
			groups = "tdm_sclk0_x",
				"tdm_fs0_x",
				"tdm_d0_x",
				"tdm_d1_x";
			function = "tdm";
		};
	};

>>>>>>> c3561923a841... audio: fixed audio resume reg is null [1/1]
	pdmin: pdmin {
		mux { /* GPIOH_2, GPIOH_1, GPIOH_0, GPIOH_4, GPIOH_3 */
			groups = "pdm_dclk_h",
				"pdm_din0_h",
				"pdm_din1_h",
				"pdm_din2_h",
				"pdm_din3_h";
			function = "pdm";
		};
	};
	spdifout: spdifout {
		mux { /* GPIOD_10 */
			groups = "spdif_out_d";
			function = "spdif_out";
		};
	};
	spdifout_a_mute: spdifout_a_mute {
		mux { /* GPIOD_10 */
			groups = "GPIOD_10";
			function = "gpio_periphs";
			output-low;
		};
	};
#endif
	dvb_s_ts0_pins: dvb_s_ts0_pins {
		tsin_a {
			groups = "tsin_a_sop",
				"tsin_a_valid",
				"tsin_a_clk",
				"tsin_a_din0";
			function = "tsin_a";
		};
	};
}; /* end of periphs_pinctrl */

&pinctrl_audio {
	tdm_d0_pins: tdm_d0_pin {
		mux {
			groups = "tdm_d0";
			function = "tdmina_lane1";
		};
	};

	tdm_d1_pins: tdm_d1_pin {
		mux {
			groups = "tdm_d1";
			function = "tdmouta_lane0";
		};
	};

	tdm_d2_pins: tdm_d2_pin {
		mux {
			groups = "tdm_d2";
			function = "tdmoutb_lane0";
		};
	};

	tdm_d3_pins: tdm_d3_pin {
		mux {
			groups = "tdm_d3";
			function = "tdmoutb_lane1";
		};
	};

	tdm_d4_pins: tdm_d4_pin {
		mux {
			groups = "tdm_d4";
			function = "tdmoutb_lane2";
		};
	};

	tdm_d5_pins: tdm_d5_pin {
		mux {
			groups = "tdm_d5";
			function = "tdmoutb_lane3";
		};
	};

	tdm_d6_pins: tdm_d6_pin {
		mux {
			groups = "tdm_d6";
			function = "tdmoutb_lane4";
		};
	};

	tdm_d7_pins: tdm_d7_pin {
		mux {
			groups = "tdm_d7";
			function = "tdmoutb_lane5";
		};
	};

	//tdm_d8_pins: tdm_d8_pin {
	//	mux {
	//		groups = "tdm_d8";
	//		function = "tdmina_lane1";
	//	};
	//};

	tdm_d9_pins: tdm_d9_pin {
		mux {
			groups = "tdm_d9";
			function = "tdmina_lane2";
		};
	};

	tdm_d10_pins: tdm_d10_pin {
		mux {
			groups = "tdm_d10";
			function = "tdmina_lane3";
		};
	};

	tdm_d11_pins: tdm_d11_pin {
		mux {
			groups = "tdm_d11";
			function = "tdmina_lane0";
		};
	};

	tdm_d12_pins: tdm_d12_pin {
		mux {
			groups = "tdm_d12";
			function = "tdmoutb_lane6";
		};
	};

	tdm_d13_pins: tdm_d13_pin {
		mux {
			groups = "tdm_d13";
			function = "tdmoutb_lane7";
		};
	};

	tdma_clk_pins: tdma_clk_pin {
		mux {
			groups = "tdm_sclk0", "tdm_lrclk0";
			function = "tdm_clk_outa";
		};
	};

	tdmb_clk_pins: tdmb_clk_pin {
		mux {
			groups = "tdm_sclk1", "tdm_lrclk1";
			function = "tdm_clk_outb";
		};
	};

	tdmain_clk_pins: tdmain_clk_pin {
		mux {
			groups = "tdm_sclk2", "tdm_lrclk2";
			function = "tdm_clk_outa";
		};
	};
	//tdm_d11_pins: tdm_d11_pin {
	//	mux {
	//		groups = "tdm_d11";
	//		function = "vadtop_tdmin_lane0";
	//	};
	//};

	//tdmc_clk_pins: tdmc_clk_pin {
	//	mux {
	//		groups = "tdm_sclk2", "tdm_lrclk2", "tdm_mclk2";
	//		function = "vadtop_tdm_clk_outc";
	//	};
	//};
	tdmc_clk_pins: tdmc_clk_pin {
		mux {
			groups = "tdm_sclk0", "tdm_lrclk0";
			function = "vadtop_tdm_clk_outc";
		};
	};
};

&audio_data {
	status = "disabled";
};

&crg_udc_2 {
	status = "okay";
};

&crg20_otg {
	status = "okay";
	controller-type = <3>;
};

&crg2_drd {
	compatible = "amlogic, crg-drd";
	status = "okay";
};

&crg_phy_20 {
	status = "okay";
	portnum = <1>;
	gpio-vbus-power = "GPIOD_10";
	gpios = <&gpio GPIOD_10 GPIO_ACTIVE_HIGH>;
};

&crg3_phy_20 {
	status = "okay";
	portnum = <0>;
};

/* SDIO */
//&sd_emmc_a {
//	status = "okay";
//	pinctrl-0 = <&sdio_pins>;
//	pinctrl-1 = <&sdio_clk_gate_pins>;
//	pinctrl-names = "default", "clk-gate";
//	#address-cells = <1>;
//	#size-cells = <0>;
//
//	bus-width = <4>;
//	cap-sd-highspeed;
//	sd-uhs-sdr50;
//	sd_uhs-sdr104;
//	max-frequency = <200000000>;
//
//	non-removable;
//	disable-wp;
//
//	//vmmc-supply = <&vddao_3v3>;
//	//vqmmc-supply = <&vddio_ao1v8>;
//
//	brcmf: wifi@1 {
//		reg = <1>;
//		compatible = "brcm,bcm4329-fmac";
//	};
//};
/* SD card pxp bringup */
&sd_emmc_a {
	status = "okay";
	pinctrl-0 = <&sdcard_pins>;
	pinctrl-1 = <&sdcard_clk_gate_pins>;
	pinctrl-2 = <&sd_1bit_pins>;
	pinctrl-names = "sd_default",
			"clk-gate",
			"sd_1bit_pins";
	bus-width = <4>;
	cap-sd-highspeed;
	max-frequency = <200000000>;
	disable-wp;

	cd-gpios = <&gpio GPIOX_7 GPIO_ACTIVE_HIGH>;
	//vmmc-supply = <&vddao_3v3>;
	//vqmmc-supply = <&emmc_1v8>;
};

/* SD card */
&sd_emmc_b {
	status = "disabled";
	pinctrl-0 = <&sdcard_pins>;
	pinctrl-1 = <&sdcard_clk_gate_pins>;
	pinctrl-2 = <&sd_1bit_pins>;
	pinctrl-3 = <&sd_to_ao_uart_clr_pins
		&sdcard_pins &ao_to_sd_uart_pins>;
	pinctrl-4 = <&sd_to_ao_uart_clr_pins
		&sd_1bit_pins &ao_to_sd_uart_pins>;
	pinctrl-5 = <&sdcard_pins &ao_uart_pins>;
	pinctrl-6 = <&sd_to_ao_uart_clr_pins
		&ao_to_sd_uart_pins>;
	pinctrl-7 = <&sdcard_pins &ao_uart_pins>;
	pinctrl-8 = <&sd_to_ao_uart_clr_pins
		&ao_to_sd_uart_pins>;
	pinctrl-names = "sd_default",
			"clk-gate",
			"sd_1bit_pins",
			"sd_clk_cmd_uart_pins",
			"sd_1bit_uart_pins",
			"sd_to_ao_uart_pins",
			"ao_to_sd_uart_pins",
			"sd_to_ao_jtag_pins",
			"ao_to_sd_jtag_pins";
	bus-width = <4>;
	cap-sd-highspeed;
//	sd-uhs-sdr12;
//	sd-uhs-sdr25;
//	sd-uhs-sdr50;
//	sd_uhs-sdr104;
	max-frequency = <200000000>;
	disable-wp;

	cd-gpios = <&gpio GPIOC_6 GPIO_ACTIVE_HIGH>;
	dat1-gpios = <&gpio GPIOC_1 GPIO_ACTIVE_HIGH>;
	//vmmc-supply = <&vddao_3v3>;
	//vqmmc-supply = <&emmc_1v8>;
};

&sd_emmc_c {
	status = "okay";
	pinctrl-0 = <&emmc_pins>, <&emmc_ds_pins>;
	pinctrl-1 = <&emmc_clk_gate_pins>;
	pinctrl-names = "default", "clk-gate";

	bus-width = <8>;
	cap-mmc-highspeed;
	//mmc-ddr-1_8v;
//	mmc-hs200-1_8v;
//	mmc-hs400-1_8v;
	max-frequency = <200000000>;
	non-removable;
	disable-wp;

//	mmc-pwrseq = <&emmc_pwrseq>;
//	vmmc-supply = <&vddao_3v3>;
//	vqmmc-supply = <&vddao_1v8>;
};

&mtd_nand {
	status = "disabled";
	#address-cells = <1>;
	#size-cells = <0>;

	pinctrl-names = "nand_norb_mod","nand_cs_only";
	pinctrl-0 = <&all_nand_pins>;
	pinctrl-1 = <&nand_cs_pins>;
	bl_mode = <1>;
	fip_copies = <4>;
	fip_size = <0x200000>;
	ship_bad_block = <1>;
	disa_irq_flag = <1>;
	nand@bootloader {
		reg = <0>;
		#address-cells = <1>;
		#size-cells = <1>;
		nand-ecc-maximize;
		partition@0 {
			label = "bootloader";
			reg = <0x0 0x00000000>;
		};
	};
	nand@normal {
		reg = <0>;
		#address-cells = <1>;
		#size-cells = <1>;
		nand-ecc-maximize;

		partition@0 {
			label = "bl2e";
			reg = <0x0 0x00000000>;
		};
		partition@1 {
			label = "bl2x";
			reg = <0x0 0x00000000>;
		};
		partition@2 {
			label = "ddrfip";
			reg = <0x0 0x00000000>;
		};
		partition@3 {
			label = "tpl";
			reg = <0x0 0x00000000>;
		};
		partition@4 {
			label = "logo";
			reg = <0x0 0x00200000>;
		};
		partition@5 {
			label = "recovery";
			reg = <0x0 0x1000000>;
		};
		partition@6 {
			label = "boot";
			reg = <0x0 0x0F00000>;
		};
		partition@7 {
			label = "system";
			reg = <0x0 0x11800000>;
		};
		partition@8 {
			label = "data";
			reg = <0x0 0xffffffff>;
		};
	};
};

&saradc {
	status = "disabled";
};

&ir {
	status = "disabled";
	pinctrl-0 = <&remote_pins>;
	pinctrl-names = "default";
};

&spicc0 {
	status = "disabled";
	pinctrl-names = "default";
	pinctrl-0 = <&spicc0_pins_x>;
	cs-gpios = <&gpio GPIOX_10 0>;
};

&spifc {
	status = "disabled";
	spi-nor@0 {
		status = "disabled";
	};
};

&fb {
	status = "disabled";
	display_size_default = <1920 1080 1920 2160 32>;
	mem_size = <0x00800000 0x1980000 0x100000>;
	logo_addr = "0x3f800000";
	mem_alloc = <0>;
	pxp_mode = <1>; /** 0:normal mode 1:pxp mode */
};

&amhdmitx {
	status = "disabled";
};

&vdin0 {
	/*compatible = "amlogic, vdin-s4";*/
	/*memory-region = <&vdin0_cma_reserved>;*/
	/*status = "disabled";*/
	/* up to 1920x1080 yuv422 8bit and 5 buffers
	 * 1920x1080x2x5 = 20 M
	 */
	cma_size = <20>;
	/*vdin write mem color depth support:
	 *bit0:support 8bit
	 *bit1:support 9bit
	 *bit2:support 10bit
	 *bit3:support 12bit
	 *bit4:support yuv422 10bit full pack mode (from txl new add)
	 */
	tv_bit_mode = <0x1>;
};

&vdin1 {
	/*compatible = "amlogic, vdin-s4";*/
	memory-region = <&vdin1_cma_reserved>;
	/*status = "disabled";*/
	/*vdin write mem color depth support:
	 *bit0:support 8bit
	 *bit1:support 9bit
	 *bit2:support 10bit
	 *bit3:support 12bit
	 */
	tv_bit_mode = <1>;
};

&aml_wifi{
	status = "disabled";
	interrupt-gpios = <&gpio  GPIOX_7  GPIO_ACTIVE_HIGH>;
	power_on-gpios = <&gpio   GPIOX_6  GPIO_ACTIVE_HIGH>;
};

&aml_bt {
	status = "disabled";
	reset-gpios = <&gpio    GPIOX_17 GPIO_ACTIVE_HIGH>;
	btwakeup-gpios = <&gpio    GPIOX_18 GPIO_ACTIVE_HIGH>;
	hostwake-gpios = <&gpio GPIOX_19 GPIO_ACTIVE_HIGH>;
};

&uart_A {
	status = "disabled";
	uart-has-rtscts;
};

&gpu {
	tbl =  <&dvfs500_cfg
		&dvfs500_cfg
		&dvfs500_cfg
		&dvfs500_cfg
		&dvfs500_cfg
		&dvfs500_cfg>;
};

&uart_B {
	status = "okay";
};

&ethmac {
	pinctrl-0 = <&eth_pins>, <&eth_rgmii_pins>;
	pinctrl-names = "default";
	status = "okay";
	phy-mode = "rgmii";
	phy-handle = <&external_phy>;
	amlogic,tx-delay-ns = <2>;
};

&i2c2 {
	status = "okay";
	pinctrl-names="default";
	pinctrl-0=<&i2c2_pins1>;
	clock-frequency = <100000>;
	ad82128_c_30: ad82128_c_30@30 {
		compatible = "ESMT,ad82128";
		#sound-dai-cells = <0>;
		reg = <0x30>;
		status = "okay";
		reset_pin = <&gpio GPIOD_9 0>;
	};
	ad82128_c_31: ad82128_c_31@31 {
		compatible = "ESMT,ad82128";
		#sound-dai-cells = <0>;
		reg = <0x31>;
		status = "okay";
	};
	ad82128_c_34: ad82128_c_34@34 {
		compatible = "ESMT,ad82128";
		#sound-dai-cells = <0>;
		reg = <0x34>;
		status = "okay";
	};
	ad82128_c_35: ad82128_c_35@35 {
		compatible = "ESMT,ad82128";
		#sound-dai-cells = <0>;
		reg = <0x35>;
		status = "okay";
	};
};

&i2c3 {
	status = "okay";
	pinctrl-names="default";
	pinctrl-0=<&i2c3_pins2>;
	clock-frequency = <100000>;
	ad82128_d_30: ad82128_d_30@30 {
		compatible = "ESMT,ad82128";
		#sound-dai-cells = <0>;
		reg = <0x30>;
		status = "okay";
	};
	ad82128_d_31: ad82128_d_31@31 {
		compatible = "ESMT,ad82128";
		#sound-dai-cells = <0>;
		reg = <0x31>;
		status = "okay";
	};
	ad82128_d_34: ad82128_d_34@34 {
		compatible = "ESMT,ad82128";
		#sound-dai-cells = <0>;
		reg = <0x34>;
		status = "okay";
	};
	ad82128_d_35: ad82128_d_35@35 {
		compatible = "ESMT,ad82128";
		#sound-dai-cells = <0>;
		reg = <0x35>;
		status = "okay";

	};
};
